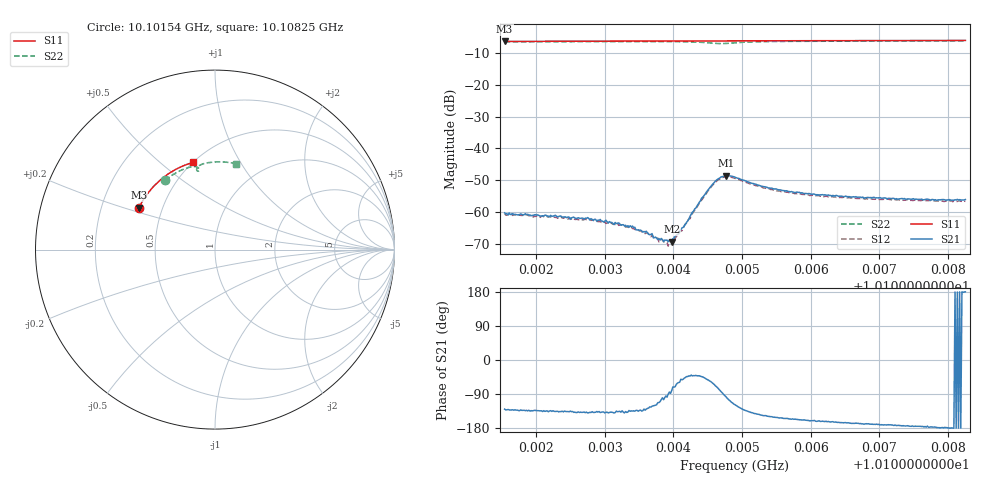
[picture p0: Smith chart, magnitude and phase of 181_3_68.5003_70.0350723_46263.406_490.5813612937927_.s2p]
#  HZ  S  RI  R  50.00
! Rohde & Schwarz Vector Network Analyzer
! Rohde-Schwarz,ZNB20-2Port,1311601062101988,3.16
! Created: UTC 3/20/2024, 4:56:43 PM
! freq[Hz]  re:S11  im:S11  re:S21  im:S21  re:S12  im:S12  re:S22  im:S22
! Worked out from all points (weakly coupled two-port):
!   401 points, 10.10154 GHz to 10.10825 GHz, reference 50 ohm
!   highest |S21| = -48.55 dB at 10.10477 GHz (marker M1); lowest = -69.4 dB at 10.10398 GHz (marker M2)
!   lowest |S11| = -6.3 dB at 10.10154 GHz (marker M3), VSWR 2.87, Z = 18.4 + j11.2 ohm
!   |S11| at or under -10 dB: nowhere
!   |S22| runs from -7.0 to -6.1 dB; largest |S21 - S12| = 0.00037
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1.0101544e10  -0.4234 0.2339  -0.000618 -0.000745  -0.000544 -0.000771  -0.2787 0.3863
1.0102668e10  -0.3893 0.293  -0.000597 -0.000533  -0.000509 -0.000562  -0.2177 0.4271
1.0102802e10  -0.3844 0.2998  -0.000588 -0.00052  -0.000512 -0.000531  -0.2099 0.4314
1.0103222e10  -0.3694 0.3202  -0.000463 -0.000456  -0.000416 -0.000462  -0.1846 0.4437
1.0103406e10  -0.3624 0.3289  -0.000422 -0.000425  -0.000354 -0.000422  -0.1729 0.4487
1.0103608e10  -0.3545 0.3383  -0.000317 -0.000385  -0.000246 -0.000395  -0.1598 0.4537
1.0103792e10  -0.3469 0.3466  -0.000144 -0.000352  -0.000107 -0.00032  -0.1472 0.4576
1.0103893e10  -0.3429 0.3511  -3.2e-05 -0.000357  -1.37e-05 -0.000333  -0.1398 0.4596
1.0103943e10  -0.3408 0.3532  3.42e-05 -0.000362  5.27e-05 -0.000349  -0.136 0.4605
1.0103977e10  -0.3393 0.3548  5.31e-05 -0.000336  0.000104 -0.000337  -0.1335 0.4609
1.0104044e10  -0.3366 0.3578  0.000186 -0.000387  0.000208 -0.000351  -0.1284 0.4618
1.0104111e10  -0.3337 0.3606  0.000333 -0.00041  0.000338 -0.000366  -0.1229 0.4625
1.0104195e10  -0.3301 0.3643  0.000494 -0.000475  0.000509 -0.000429  -0.1158 0.4627
1.0104413e10  -0.3206 0.3735  0.00119 -0.00114  0.0012 -0.000972  -0.0964 0.4583
1.0104581e10  -0.3131 0.3803  0.0013 -0.00246  0.00144 -0.00228  -0.0873 0.4453
1.0104681e10  -0.3084 0.3843  0.000563 -0.0034  0.000827 -0.00322  -0.0913 0.4377
1.0104765e10  -0.3046 0.3874  -0.000422 -0.00371  -0.000148 -0.00354  -0.0982 0.4382
1.01049e10  -0.2985 0.3928  -0.00166 -0.00312  -0.00135 -0.0031  -0.1022 0.4489
1.0105386e10  -0.2754 0.4109  -0.00204 -0.00124  -0.00186 -0.00138  -0.0721 0.4758
1.0106024e10  -0.2433 0.4325  -0.00178 -0.000643  -0.00167 -0.000774  -0.0275 0.4858
1.0107148e10  -0.1829 0.464  -0.00162 -0.000252  -0.00153 -0.000365  0.0467 0.4882
1.0108255e10  -0.1198 0.4863  -0.00157 3.81e-06  -0.00146 -0.000113  0.1174 0.4788
